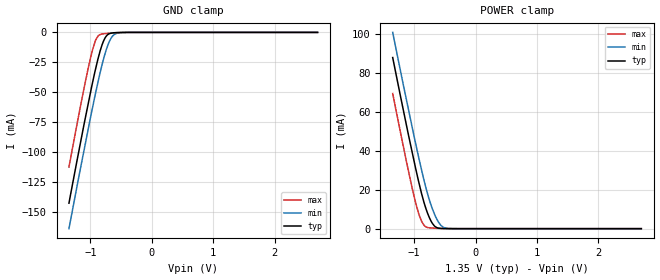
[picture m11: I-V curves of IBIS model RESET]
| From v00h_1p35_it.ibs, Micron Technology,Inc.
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| MODEL RESET (RESET# Input Model)
[Model]   RESET
Model_type   Input
Vinl = 270.000mV
Vinh = 1.080V
|   typ   min   max
|C_comp   0.650pF   0.575pF   0.725pF
C_comp_power_clamp   0.3250pF   0.2875pF   0.3625pF
C_comp_gnd_clamp   0.3250pF   0.2875pF   0.3625pF
[Model Spec]
| Input threshold voltage corners
Vinl   0.2700V   0.2566V   0.2850V
Vinh   1.0800V   1.0264V   1.1400V
[Voltage Range]   1.3500V   1.2830V   1.4250V
| Junction Temperature (Ambient temp is 35C typ, 95C min, -40C max)
[Temperature Range]   50.0   110.0   -40.0
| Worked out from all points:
|   GND clamp passes 1 mA (typ) near -0.68 V on its own axis
|   POWER clamp passes 1 mA (typ) near -0.65 V on its own axis
[GND Clamp]
|   Voltage   I(typ)   I(min)   I(max)
-1.35V    -142.4mA   -163.7mA   -112.3mA
-1.19V    -99.33mA   -120.7mA   -68.89mA
-1.03V    -57.9mA    -79mA      -28.23mA
-975mV    -44.07mA   -64.98mA   -16.17mA
-920mV    -31.3mA    -51.44mA   -7.012mA
-870mV    -20.74mA   -39.87mA   -2.652mA
-785mV    -7.005mA   -21.91mA   -1.144mA
-710mV    -1.569mA   -9.806mA   -758.2uA
-625mV    -347uA     -2.287mA   -419.6uA
-565mV    -159.6uA   -640.2uA   -246.6uA
-440mV    -35.41uA   -45.12uA   -51.8uA
2.7V      0A         0A         0A
[POWER Clamp]
|   Voltage   I(typ)   I(min)   I(max)
-1.35V    87.76mA    100.7mA    69.31mA
-1.19V    62.83mA    75.76mA    44.18mA
-1.03V    38.76mA    51.6mA     20.36mA
-975mV    30.7mA     43.46mA    13.05mA
-915mV    22.53mA    34.9mA     6.587mA
-835mV    12.9mA     24.2mA     1.55mA
-785mV    8.157mA    18.21mA    624.5uA
-725mV    3.843mA    12.08mA    366.7uA
-665mV    1.21mA     7.141mA    240.1uA
-560mV    111.4uA    1.548mA    102.7uA
-400mV    15.18uA    30.07uA    19.47uA
2.7V      0A         0A         0A
